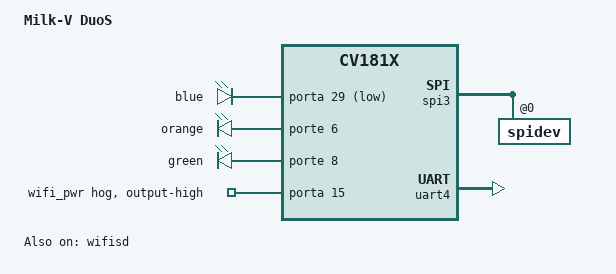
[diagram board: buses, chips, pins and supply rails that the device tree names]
/dts-v1/;
#include "cv181x_base_riscv.dtsi"
#include "cv181x_asic_bga.dtsi"
#include "cv181x_asic_sd.dtsi"
#include "cv181x_default_memmap.dtsi"

#include "dt-bindings/leds/common.h"
#ifndef __UBOOT__
#include <dt-bindings/mailbox/cvitek-mailbox.h>
#endif


&mipi_rx{
	snsr-reset = <&portc 17 GPIO_ACTIVE_LOW>, <&portc 17 GPIO_ACTIVE_LOW>, <&portc 17 GPIO_ACTIVE_LOW>;
};

&dac{
	/delete-property/ mute-gpio-l;
	/delete-property/ mute-gpio-r;
};

&i2c0 {
	status = "disabled";
};

&spi3 {
	status = "okay";

	spidev@0 {
		status = "okay";
	};
};

&usb {
	vbus-gpio = <&portb 6 0>;
};

&wifisd {
	status = "okay";
	cap-sd-highspeed;
	sd-uhs-sdr25;
	sd-uhs-ddr50;
	sd-uhs-sdr104;
	min-frequency = <400000>;
	max-frequency = <187500000>;
};

&wifi_pin {
	compatible = "cvitek,wifi-pin";
	poweron-gpio = <&porta 15 GPIO_ACTIVE_HIGH>;
	wakeup-gpio = <&porte 7 GPIO_ACTIVE_HIGH>;
};

&uart4 {
	status = "okay";
};

&soc_thermal_0 {
	cooling-maps {
		map0 {
			trip = <&soc_thermal_trip_0>;
			cooling-device = <&cv181x_cooling THERMAL_NO_LIMIT 1>;
		};
		map1 {
			trip = <&soc_thermal_trip_1>;
			cooling-device = <&cv181x_cooling THERMAL_NO_LIMIT THERMAL_NO_LIMIT>;
		};
	};
};

&porta {
	wifi_pwr {
		gpio-hog;
		gpios = <15 GPIO_ACTIVE_HIGH>;
		output-high;
	};
};

/ {
	model = "Milk-V DuoS";
	
	/delete-node/ wifi_pin;
	/delete-node/ bt_pin;

	leds {
		compatible = "gpio-leds";
		led0 {
			gpios = <&porta 29 GPIO_ACTIVE_LOW>;
			linux,default-trigger = "heartbeat";
			function = LED_FUNCTION_HEARTBEAT;
			label = "blue";
		};
		led1 {
			gpios = <&porte 6 GPIO_ACTIVE_HIGH>;
			linux,default-trigger = "netdev";
			function = LED_FUNCTION_HEARTBEAT;
			label = "orange";
		};
		led2 {
			gpios = <&porte 8 GPIO_ACTIVE_HIGH>;
			linux,default-trigger = "stmmac-0:00:link";
			function = LED_FUNCTION_HEARTBEAT;
			label = "green";
		};
	};


#ifndef __UBOOT__        
	mbox: mbox@0x01900000 {
		compatible = "cvitek,sg200x-mailbox";
		reg = <0x0 0x01900000 0x0 0x1000>;
		reg-names = "mailbox";
		interrupts	= <101 IRQ_TYPE_LEVEL_HIGH>;
		interrupt-parent = <&plic0>;
		status = "okay";
		#mbox-cells = <4>;
	};

	cv181x-c906_1 {
		compatible	= "cvitek,cv181x-c906_1";
		memory-region	= <&fast_image &vdev0vring0 &vdev0vring1 &vdev0buffer>;
        firmware        = "c906-mcu.elf";
        resets		= <&rst RST_C906_1>;
		reset-names	= "sw_reset";
        clocks		= <&clk CV181X_CLK_C906_1>;
		clock-names     = "clk_c906_1";
		mboxes		= <&mbox 0 CVITEK_MBOX_DIRECTION_TX CVITEK_MBOX_C906_1 1>, <&mbox 1 CVITEK_MBOX_DIRECTION_RX CVITEK_MBOX_C906_1 1>;
		mbox-names	= "vq_tx", "vq_rx";
		status		= "okay";
	};
#endif

};

